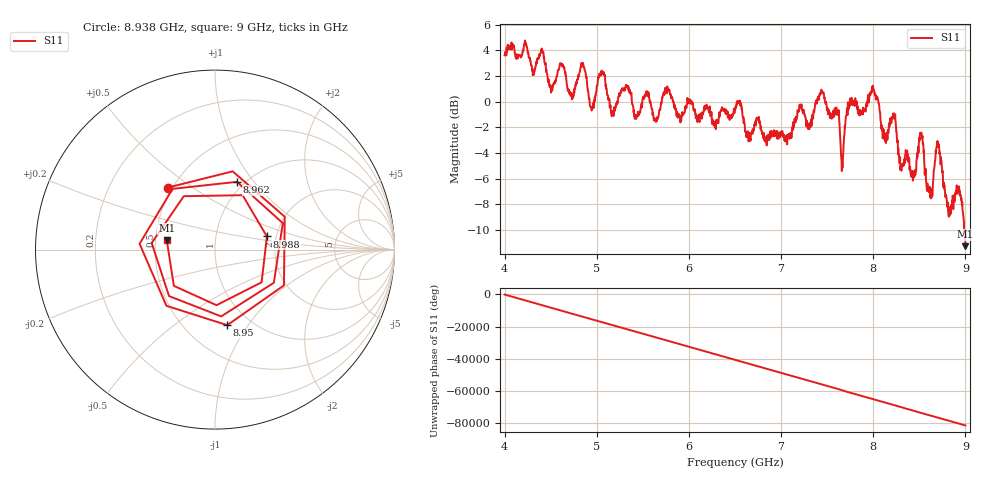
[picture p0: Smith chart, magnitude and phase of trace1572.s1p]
! Created with skrf 1.8.0 (http://scikit-rf.org).
# Hz S RI R 50.0
!freq ReS11 ImS11
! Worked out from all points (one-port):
!   1601 points, 4 GHz to 9 GHz, reference 50 ohm
!   lowest |S11| = -11.3 dB at 9 GHz (marker M1), VSWR 1.75, Z = 28.7 + j3.15 ohm
!   |S11| at or under -10 dB: 8.98621 GHz to 8.990865 GHz (4.655 MHz wide, 0.0518 % of centre); 8.991361 GHz to end of sweep
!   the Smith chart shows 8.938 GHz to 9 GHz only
!   S11 on the Smith chart (normalised r, x): 8.938 GHz: 0.47, +0.40; 8.95 GHz: 0.78, -0.81; 8.962 GHz: 0.92, +0.83; 8.988 GHz: 1.78, +0.29; 9 GHz: 0.57, +0.06
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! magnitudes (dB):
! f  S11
! 4 GHz  3.6
! 4.403 GHz  4.1
! 4.506 GHz  0.9
! 4.625 GHz  2.7
! 4.725 GHz  0.7
! 4.853 GHz  2.9
! 4.941 GHz  -0.6
! 5.05 GHz  2.3
! 5.166 GHz  -0.7
! 5.25 GHz  0.4
! 5.875 GHz  -1.0
! 6.5 GHz  -0.7
! 7.125 GHz  -2.1
! 7.444 GHz  0.7
! 7.662 GHz  -4.7
! 7.75 GHz  -0.1
! 8 GHz  1.1
! 8.375 GHz  -4.1
! 8.441 GHz  -5.7
! 8.519 GHz  -2.6
! 8.619 GHz  -7.4
! 8.703 GHz  -3.2
! 8.819 GHz  -8.9
! 8.938 GHz  -7.3
! 8.95 GHz  -7.4
! 8.962 GHz  -8.0
! 8.988 GHz  -10.5
! 9 GHz  -11.3
